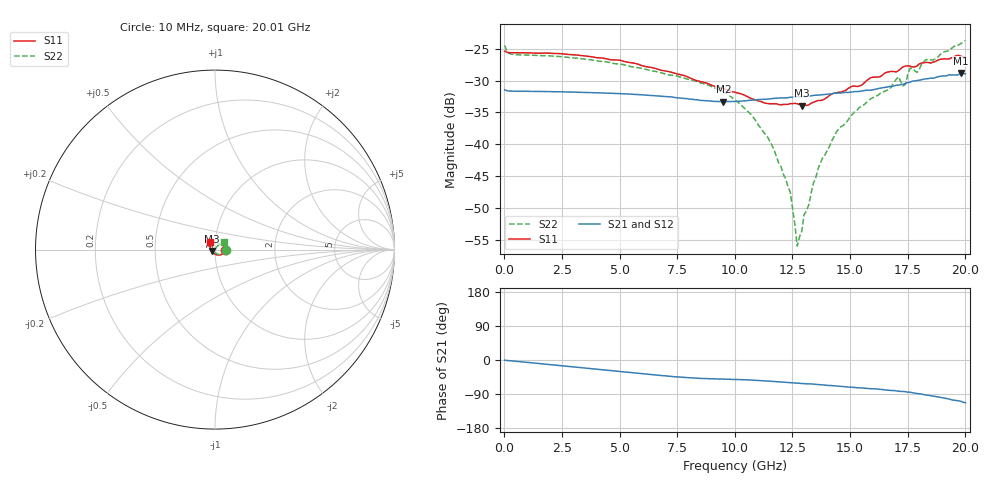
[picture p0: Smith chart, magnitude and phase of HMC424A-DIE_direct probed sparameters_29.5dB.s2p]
!s2p File: Measurements: S11, S21, S12, S22
# GHz S dB R 50.0
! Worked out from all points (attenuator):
!   201 points, 10 MHz to 20.01 GHz, reference 50 ohm
!   highest |S21| = -28.81 dB at 19.81 GHz (marker M1); lowest = -33.3 dB at 9.51 GHz (marker M2)
!   lowest |S11| = -33.9 dB at 12.91 GHz (marker M3), VSWR 1.04, Z = 48.2 - j0.785 ohm
!   |S11| at or under -10 dB: start of sweep to end of sweep
!   |S22| runs from -56.0 to -23.7 dB; largest |S21 - S12| = 0.00037
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0.01  -25.35 -0.2  -31.44 -0.3  -31.45 0.1  -24.45 -1.7
0.31  -25.61 -2.3  -31.63 -2.3  -31.63 -2.3  -25.82 -4.8
3.41  -26.09 -23.8  -31.83 -20.9  -31.83 -21.0  -26.58 -24.9
6.71  -28.26 -51.7  -32.41 -40.4  -32.41 -40.3  -28.66 -46.4
9.51  -31.24 -84.3  -33.30 -50.5  -33.29 -50.4  -31.82 -67.8
10.01  -31.83 -91.8  -33.27 -51.4  -33.28 -51.3  -32.97 -72.6
11.61  -33.63 -123.7  -32.83 -56.3  -32.82 -56.1  -40.13 -82.9
12.41  -33.60 -142.2  -32.61 -59.8  -32.62 -59.7  -47.52 -73.9
12.71  -33.63 -150.9  -32.53 -61.2  -32.53 -61.0  -56.01 -46.3
12.91  -33.91 -156.2  -32.47 -61.9  -32.47 -61.7  -53.63 7.6
13.01  -33.87 -158.2  -32.50 -62.3  -32.49 -62.2  -51.04 21.6
13.21  -33.82 -162.4  -32.50 -62.9  -32.49 -62.6  -49.53 35.5
13.41  -33.40 -168.0  -32.32 -63.5  -32.34 -63.4  -46.12 49.4
14.41  -31.91 170.5  -31.95 -68.6  -31.96 -68.6  -38.05 60.1
16.71  -28.59 137.9  -30.92 -80.0  -30.90 -79.9  -31.41 55.1
17.11  -28.40 136.8  -30.69 -82.3  -30.61 -82.4  -29.40 49.3
17.41  -27.71 133.0  -30.41 -83.7  -30.42 -84.1  -30.58 58.9
17.61  -27.72 129.9  -30.23 -85.0  -30.27 -85.6  -28.07 55.5
17.91  -27.70 128.9  -29.97 -88.6  -30.03 -88.4  -28.69 50.8
18.31  -27.11 123.5  -29.71 -92.6  -29.77 -92.3  -26.66 49.2
19.81  -26.16 119.5  -28.81 -109.0  -28.79 -108.9  -24.18 43.1
20.01  -26.30 121.5  -28.94 -113.1  -28.93 -112.9  -23.68 41.5
